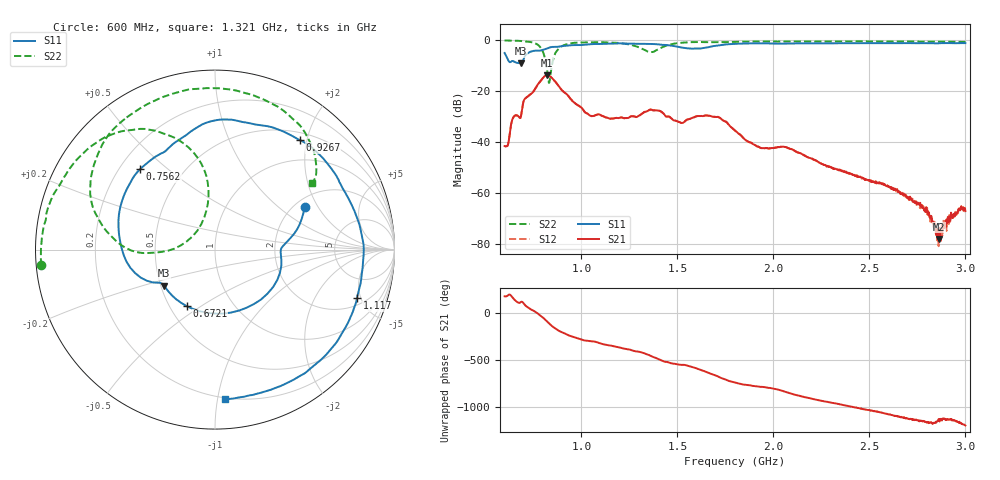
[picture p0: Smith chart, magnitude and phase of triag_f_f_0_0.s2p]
#  HZ  S  RI  R  50.00
! Rohde & Schwarz ZVB8 2Ports - Version 2.81 - 1145.1010k08 SN: 100113
! Date: 2016-05-03 01:37:44
! Measurements: S11 S21 S12 S22
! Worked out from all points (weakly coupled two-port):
!   1000 points, 600 MHz to 3 GHz, reference 50 ohm
!   highest |S21| = -13.84 dB at 821 MHz (marker M1); lowest = -77.9 dB at 2.861 GHz (marker M2)
!   lowest |S11| = -9.2 dB at 686.5 MHz (marker M3), VSWR 2.06, Z = 26.1 - j11.9 ohm
!   |S11| at or under -10 dB: nowhere
!   |S22| runs from -16.8 to -0.2 dB; largest |S21 - S12| = 0.0021
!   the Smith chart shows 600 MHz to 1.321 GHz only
!   S11 on the Smith chart (normalised r, x): 600 MHz: 2.28, +1.54; 672.1 MHz: 0.61, -0.44; 756.2 MHz: 0.28, +0.41; 926.7 MHz: 0.62, +1.87; 1.117 GHz: 2.58, -4.62; 1.321 GHz: 0.19, -1.05
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6e8  0.5001 0.235  -0.00826 0.00121  -0.00834 0.00118  -0.9687 -0.0881
6.408408e8  0.3476 -0.1683  -0.0262 0.00977  -0.0262 0.00961  -0.9582 0.1075
6.720721e8  -0.1568 -0.3153  -0.0078 0.0309  -0.00786 0.0308  -0.9227 0.2526
6.864865e8  -0.2834 -0.2006  -0.0136 0.0312  -0.0138 0.031  -0.8904 0.3228
7.561562e8  -0.4166 0.449  0.1038 0.023  0.1034 0.0239  -0.587 0.6369
7.897898e8  -0.2568 0.5675  0.1297 -0.096  0.1292 -0.0945  -0.2564 0.6358
8.21021e8  -0.1232 0.6661  -0.0187 -0.2023  -0.0175 -0.2022  -0.0398 0.2568
8.522523e8  0.0767 0.7241  -0.1492 -0.0809  -0.1486 -0.0809  -0.402 -0.0192
9.267267e8  0.4715 0.6113  -0.0495 0.0681  -0.0495 0.0676  -0.6714 0.4811
1.001201e9  0.7296 0.3105  0.0132 0.045  0.0128 0.045  -0.4398 0.7723
1.116517e9  0.7906 -0.2707  0.029 0.0129  0.0289 0.013  0.0359 0.8976
1.320721e9  0.0556 -0.8346  0.0152 -0.0338  0.0154 -0.0337  0.5425 0.3685
1.4e9  -0.2943 -0.7616  -0.0266 -0.0314  -0.0265 -0.0315  0.5062 0.4099
1.565766e9  -0.5916 -0.3303  -0.0249 0.0137  -0.025 0.0137  0.8975 -0.0718
1.801201e9  -0.7847 0.285  0.0156 -0.00592  0.0156 -0.0058  0.4717 -0.7793
2.000601e9  -0.2462 0.808  0.00075 -0.00757  0.000864 -0.00761  -0.143 -0.9168
2.2e9  0.4891 0.6998  -0.00469 0.000792  -0.00466 0.000778  -0.6376 -0.6783
2.401802e9  0.8621 -0.0313  0.000125 0.00243  0.000156 0.00239  -0.8962 -0.2525
2.601201e9  0.4614 -0.7282  0.00134 0.000103  0.00135 0.00012  -0.9085 0.1994
2.788589e9  -0.2343 -0.8285  0.000128 -0.00046  0.000182 -0.000431  -0.7171 0.5775
2.860661e9  -0.4674 -0.7186  9.09e-05 -8.87e-05  -3.31e-05 -8.58e-05  -0.6032 0.6974
3e9  -0.7807 -0.3667  -0.000172 -0.000411  -0.000163 -0.000506  -0.324 0.8522
